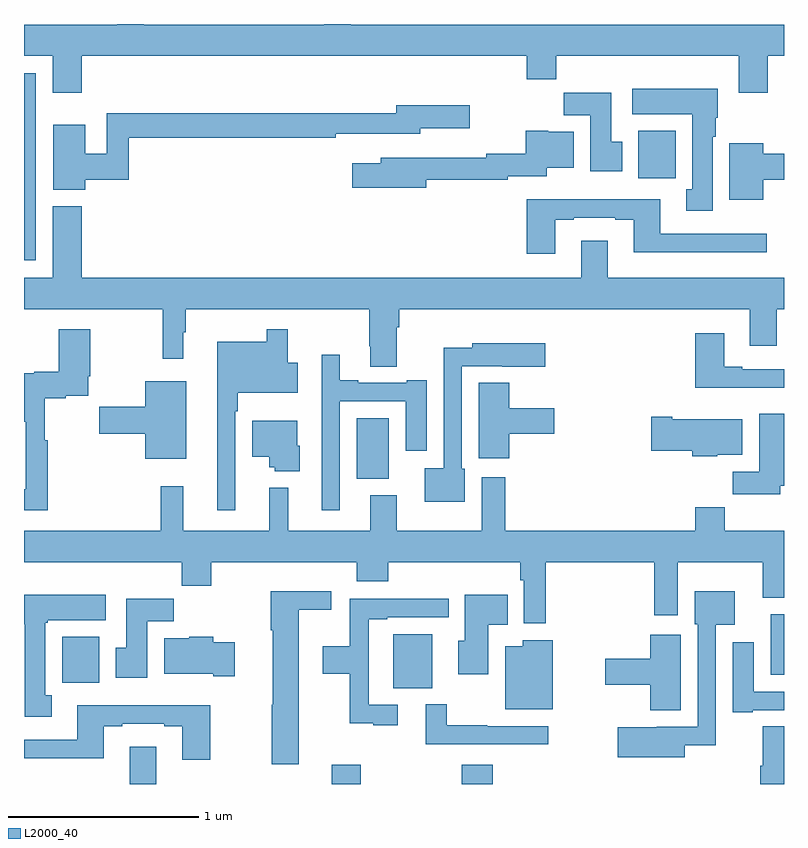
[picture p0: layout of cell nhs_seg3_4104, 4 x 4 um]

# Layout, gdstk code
import gdstk
lib = gdstk.Library(unit=1e-6, precision=1e-09)
def R(c, l, rs):  # rectangles x0, y0, x1, y1
    for r in rs: c.add(gdstk.rectangle(r[:2], r[2:], *l))
def P(c, l, *ps):  # polygons
    for p in ps: c.add(gdstk.Polygon(p, *l))
L2000_40 = (2000, 40)

nhs_seg3_4104 = lib.new_cell('nhs_seg3_4104')
R(nhs_seg3_4104, L2000_40, [(327.557,714.4,327.697,714.595), (328.619,714.4,328.772,714.502), (329.303,714.4,329.468,714.502), (328.943,714.905,329.149,715.189), (327.2,714.932,327.397,715.174), (330.929,714.974,331,715.294), (328.751,716.006,328.921,716.326), (327,717.156,327.063,718.14), (330.233,717.588,330.429,717.838)])
P(nhs_seg3_4104, L2000_40, [(327.305,718.232),(329.645,718.232),(329.645,718.108),(329.801,718.108),(329.801,718.232),(330.761,718.232),(330.761,718.038),(330.914,718.038),(330.914,718.232),(331,718.232),(331,718.396),(328.72,718.396),(328.72,718.4),(328.581,718.4),(328.581,718.396),(327.631,718.396),(327.631,718.4),(327.491,718.4),(327.491,718.396),(327,718.396),(327,718.232),(327.152,718.232),(327.152,718.038),(327.305,718.038)],
  [(330.625,717.806),(330.64,717.806),(330.64,717.906),(330.652,717.906),(330.652,718.06),(330.201,718.06),(330.201,717.926),(330.518,717.926),(330.518,717.529),(330.485,717.529),(330.485,717.417),(330.625,717.417)],
  [(330.148,717.78),(330.091,717.78),(330.091,718.039),(329.842,718.039),(329.842,717.92),(329.981,717.92),(329.981,717.624),(330.148,717.624)],
  [(327.322,717.58),(327.551,717.58),(327.551,717.802),(328.64,717.802),(328.64,717.822),(329.086,717.822),(329.086,717.851),(329.347,717.851),(329.347,717.973),(328.958,717.973),(328.958,717.931),(327.435,717.931),(327.435,717.716),(327.322,717.716),(327.322,717.871),(327.155,717.871),(327.155,717.527),(327.322,717.527)],
  [(329.116,717.58),(329.546,717.58),(329.546,717.6),(329.752,717.6),(329.752,717.644),(329.893,717.644),(329.893,717.832),(329.76,717.832),(329.76,717.838),(329.642,717.838),(329.642,717.716),(329.434,717.716),(329.434,717.697),(328.877,717.697),(328.877,717.667),(328.728,717.667),(328.728,717.538),(329.116,717.538)],
  [(330.892,717.58),(331,717.58),(331,717.716),(330.892,717.716),(330.892,717.772),(330.713,717.772),(330.713,717.476),(330.892,717.476)],
  [(329.797,717.369),(329.893,717.369),(329.893,717.381),(330.113,717.381),(330.113,717.369),(330.209,717.369),(330.209,717.2),(330.91,717.2),(330.91,717.297),(330.349,717.297),(330.349,717.478),(329.645,717.478),(329.645,717.192),(329.797,717.192)],
  [(328.963,716.804),(328.976,716.804),(328.976,716.9),(330.821,716.9),(330.821,716.706),(330.961,716.706),(330.961,716.9),(331,716.9),(331,717.064),(330.073,717.064),(330.073,717.259),(329.933,717.259),(329.933,717.064),(327.305,717.064),(327.305,717.442),(327.152,717.442),(327.152,717.064),(327,717.064),(327,716.9),(327.729,716.9),(327.729,716.637),(327.838,716.637),(327.838,716.777),(327.85,716.777),(327.85,716.9),(328.816,716.9),(328.816,716.704),(328.823,716.704),(328.823,716.596),(328.963,716.596)],
  [(328.113,716.363),(328.126,716.363),(328.126,716.459),(328.441,716.459),(328.441,716.617),(328.388,716.617),(328.388,716.794),(328.278,716.794),(328.278,716.728),(328.016,716.728),(328.016,715.842),(328.113,715.842)],
  [(327.125,716.21),(327.11,716.21),(327.11,716.429),(327.219,716.429),(327.219,716.443),(327.338,716.443),(327.338,716.545),(327.348,716.545),(327.348,716.794),(327.182,716.794),(327.182,716.571),(327.054,716.571),(327.054,716.563),(327,716.563),(327,716.306),(327.008,716.306),(327.008,715.951),(327,715.951),(327,715.842),(327.125,715.842)],
  [(331,716.583),(330.781,716.583),(330.781,716.596),(330.685,716.596),(330.685,716.773),(330.533,716.773),(330.533,716.486),(331,716.486)],
  [(329.32,716.058),(329.304,716.058),(329.304,716.598),(329.516,716.598),(329.516,716.597),(329.743,716.597),(329.743,716.719),(329.358,716.719),(329.358,716.696),(329.208,716.696),(329.208,716.062),(329.108,716.062),(329.108,715.886),(329.32,715.886)],
  [(328.662,716.415),(329.009,716.415),(329.009,716.154),(329.119,716.154),(329.119,716.524),(329.015,716.524),(329.015,716.511),(328.759,716.511),(328.759,716.524),(328.663,716.524),(328.663,716.659),(328.566,716.659),(328.566,715.842),(328.662,715.842)],
  [(327.853,716.521),(327.638,716.521),(327.638,716.386),(327.396,716.386),(327.396,716.243),(327.638,716.243),(327.638,716.111),(327.853,716.111)],
  [(329.555,716.243),(329.791,716.243),(329.791,716.377),(329.555,716.377),(329.555,716.512),(329.393,716.512),(329.393,716.115),(329.555,716.115)],
  [(330.979,715.97),(331,715.97),(331,716.35),(330.869,716.35),(330.869,716.044),(330.73,716.044),(330.73,715.926),(330.979,715.926)],
  [(330.648,716.132),(330.781,716.132),(330.781,716.32),(330.412,716.32),(330.412,716.333),(330.3,716.333),(330.3,716.155),(330.518,716.155),(330.518,716.126),(330.648,716.126)],
  [(328.45,716.181),(328.438,716.181),(328.438,716.311),(328.202,716.311),(328.202,716.123),(328.292,716.123),(328.292,716.067),(328.32,716.067),(328.32,716.045),(328.45,716.045)],
  [(329.747,715.568),(330.317,715.568),(330.317,715.287),(330.442,715.287),(330.442,715.568),(330.887,715.568),(330.887,715.379),(331,715.379),(331,715.732),(330.689,715.732),(330.689,715.856),(330.533,715.856),(330.533,715.732),(329.534,715.732),(329.534,716.014),(329.408,716.014),(329.408,715.732),(328.963,715.732),(328.963,715.921),(328.823,715.921),(328.823,715.732),(328.39,715.732),(328.39,715.96),(328.292,715.96),(328.292,715.732),(327.839,715.732),(327.839,715.966),(327.721,715.966),(327.721,715.732),(327,715.732),(327,715.568),(327.829,715.568),(327.829,715.444),(327.986,715.444),(327.986,715.568),(328.751,715.568),(328.751,715.466),(328.916,715.466),(328.916,715.568),(329.611,715.568),(329.611,715.472),(329.631,715.472),(329.631,715.245),(329.747,715.245)],
  [(328.447,715.316),(328.618,715.316),(328.618,715.414),(328.298,715.414),(328.298,715.21),(328.31,715.21),(328.31,714.816),(328.303,714.816),(328.303,714.504),(328.447,714.504)],
  [(330.478,714.605),(330.642,714.605),(330.642,715.238),(330.742,715.238),(330.742,715.414),(330.53,715.414),(330.53,715.242),(330.546,715.242),(330.546,714.702),(330.33,714.702),(330.33,714.7),(330.126,714.7),(330.126,714.542),(330.478,714.542)],
  [(327.145,714.866),(327.112,714.866),(327.112,715.249),(327.126,715.249),(327.126,715.262),(327.43,715.262),(327.43,715.396),(327,715.396),(327,715.242),(327.005,715.242),(327.005,714.753),(327.145,714.753)],
  [(329.443,715.238),(329.546,715.238),(329.546,715.396),(329.321,715.396),(329.321,715.155),(329.285,715.155),(329.285,714.977),(329.443,714.977)],
  [(328.966,714.816),(328.815,714.816),(328.815,715.266),(328.912,715.266),(328.912,715.278),(329.236,715.278),(329.236,715.376),(328.999,715.376),(328.999,715.374),(328.714,715.374),(328.714,715.126),(328.572,715.126),(328.572,714.979),(328.714,714.979),(328.714,714.719),(328.838,714.719),(328.838,714.708),(328.966,714.708)],
  [(327.649,715.256),(327.788,715.256),(327.788,715.375),(327.539,715.375),(327.539,715.116),(327.482,715.116),(327.482,714.96),(327.649,714.96)],
  [(330.457,715.186),(330.296,715.186),(330.296,715.058),(330.06,715.058),(330.06,714.923),(330.296,714.923),(330.296,714.787),(330.457,714.787)],
  [(328.108,715.146),(327.996,715.146),(327.996,715.174),(327.87,715.174),(327.87,715.168),(327.737,715.168),(327.737,714.98),(327.995,714.98),(327.995,714.968),(328.108,714.968)],
  [(329.782,715.156),(329.624,715.156),(329.624,715.126),(329.534,715.126),(329.534,714.794),(329.782,714.794)],
  [(330.835,714.789),(331,714.789),(331,714.885),(330.841,714.885),(330.841,715.147),(330.731,715.147),(330.731,714.777),(330.835,714.777)],
  [(329.758,714.705),(329.438,714.705),(329.438,714.71),(329.224,714.71),(329.224,714.82),(329.114,714.82),(329.114,714.609),(329.758,714.609)],
  [(327.981,714.814),(327.281,714.814),(327.281,714.633),(327,714.633),(327,714.536),(327.421,714.536),(327.421,714.705),(327.517,714.705),(327.517,714.717),(327.737,714.717),(327.737,714.705),(327.833,714.705),(327.833,714.528),(327.981,714.528)],
  [(331,714.704),(330.887,714.704),(330.887,714.496),(330.875,714.496),(330.875,714.4),(331,714.4)])

lib.write_gds('nhs_seg3_4104.gds')
